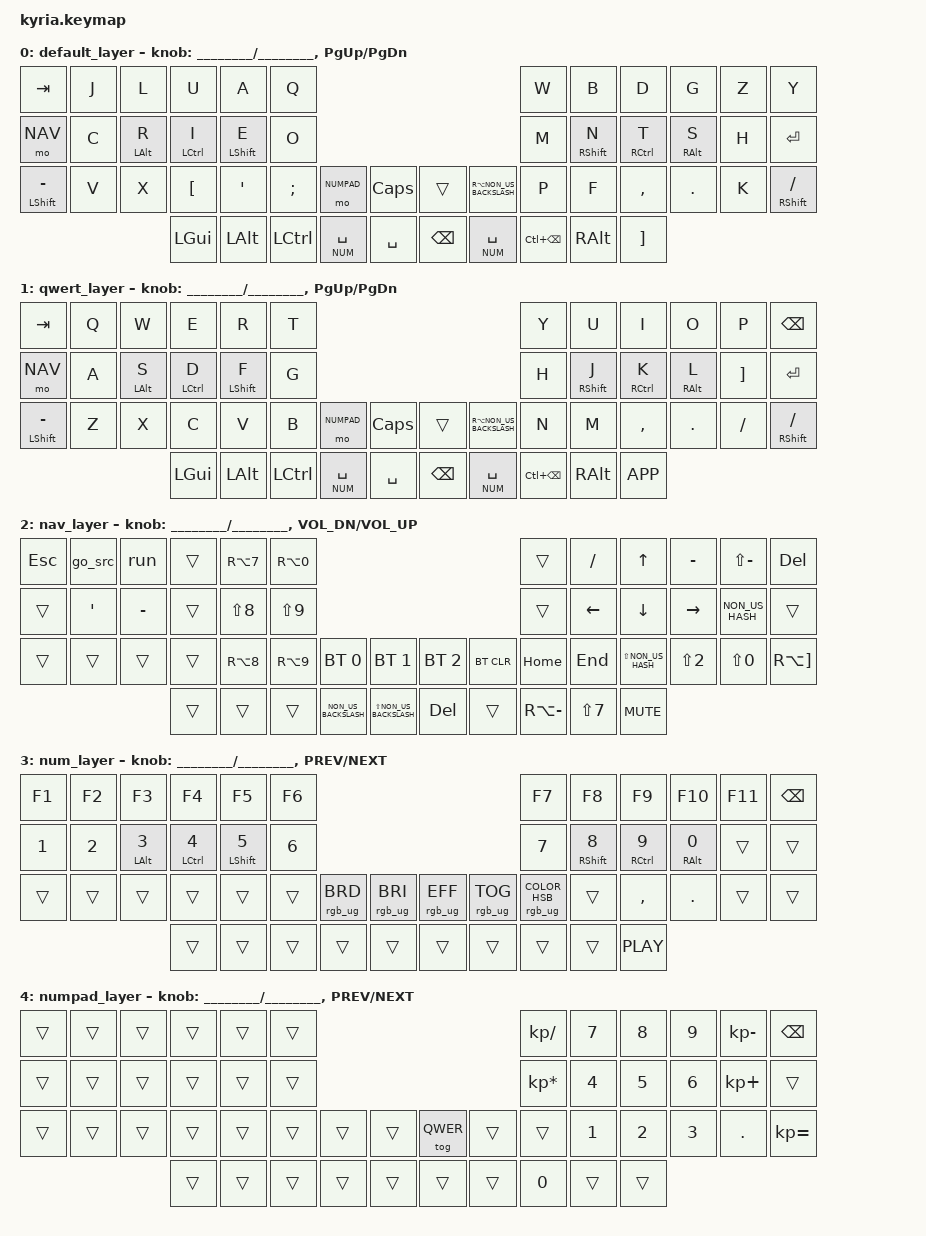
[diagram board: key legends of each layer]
/*
 * Copyright (c) 2020 The ZMK Contributors
 *
 * SPDX-License-Identifier: MIT
 */

#include <behaviors.dtsi>
#include <dt-bindings/zmk/keys.h>
#include <dt-bindings/zmk/bt.h>
#include <dt-bindings/zmk/rgb.h>

// Layers
#define DEFAULT 0
#define QWER    1
#define NAV     2
#define NUM     3
#define NUMPAD  4

// DE keys
#define DE_PLUS &kp RBKT
#define DE_TILD &kp RA(RBKT)
#define DE_LABK &kp NON_US_BACKSLASH // <
#define DE_RABK &kp LS(NON_US_BACKSLASH) // >
#define DE_PIPE &kp RA(NON_US_BACKSLASH)
#define DE_MINS &kp SLASH
#define DE_UE   &kp LBKT
#define DE_OE   &kp SEMI
#define DE_AE   &kp APOS
#define DE_SS   &kp MINUS
#define DE_QUES &kp LS(MINUS)
#define DE_HASH &kp NON_US_HASH
#define DE_QUOT &kp LS(NON_US_HASH)
#define DE_DQUO &kp LS(N2)
#define DE_EQUL &kp LS(N0)
#define DE_BSLS &kp RA(MINUS)
#define DE_SLSH &kp LS(N7)
#define DE_LCBR &kp RA(N7)
#define DE_RCBR &kp RA(N0)
#define DE_LPRN &kp LS(N8)
#define DE_RPRN &kp LS(N9)
#define DE_LBRC &kp RA(N8)
#define DE_RBRC &kp RA(N9)

// Special shortcuts
#define ________   &trans
#define TODO       &trans
#define DEL_W      &kp LC(BSPC)
#define SPACE_NUM  &lt NUM SPACE

#define BT_1       &bt BT_SEL 0
#define BT_2       &bt BT_SEL 1
#define BT_3       &bt BT_SEL 2
#define BT_CLEAR   &bt BT_CLR

#define UG_TOG     &rgb_ug RGB_TOG
#define UG_NEXT    &rgb_ug RGB_EFF
#define UG_BRGHT   &rgb_ug RGB_BRI
#define UG_DARK    &rgb_ug RGB_BRD
#define UG_LILA    &rgb_ug RGB_COLOR_HSB(282, 100, 83)

// home row mod left
#define ALT_S &hm LALT S
#define ALT_R &hm LALT R
#define ALT_3 &hm LALT N3
#define CTL_D &hm LCTRL D
#define CTL_I &hm LCTRL I
#define CTL_4 &hm LCTRL N4
#define SFT_F &hm LSHIFT F
#define SFT_E &hm LSHIFT E
#define SFT_5 &hm LSHIFT N5

// home row mod right
#define SFT_8 &hm RSHIFT N8
#define SFT_J &hm RSHIFT J
#define SFT_N &hm RSHIFT N
#define CTL_K &hm RCTRL K
#define CTL_T &hm RCTRL T
#define CTL_9 &hm RCTRL N9
#define ALT_L &hm RALT L
#define RALT_S &hm RALT S
#define ALT_0 &hm RALT N0

// special modifiers for missing keys
#define SFT_SS &hm LSHIFT MINUS
#define SFT_MIN &hm RSHIFT SLASH


#define CTRL_DEL &hm RCTRL BSPC

/ {

    macros {
            ZMK_MACRO(go_src,
                wait-ms = <30>;
                tap-ms = <40>;
                bindings
                    = <&macro_press   &kp LALT>
                    , <&macro_tap     &kp F1>
                    , <&macro_release &kp LALT>
                    , <&macro_wait_time 2000>
                    , <&macro_tap     &kp RET>
                    ;
            )

            ZMK_MACRO(run,
                wait-ms = <30>;
                tap-ms = <40>;
                bindings
                    = <&macro_press   &kp LALT>
                    , <&macro_press   &kp LSHFT>
                    , <&macro_tap     &kp F10>
                    , <&macro_release &kp LSHFT>
                    , <&macro_release &kp LALT>
                    ;
            )
	    
	    ZMK_MACRO(cad,
                wait-ms = <30>;
                tap-ms = <40>;
                bindings
                    = <&macro_press   &kp LCTL>
                    , <&macro_press   &kp LALT>
                    , <&macro_tap     &kp DEL>
                    , <&macro_release &kp LALT>
                    , <&macro_release &kp LCTL>
                    ;
            )
    };

    behaviors {
        hm: homerow_mods {
                    compatible = "zmk,behavior-hold-tap";
                    label = "HOMEROW_MODS";
                    #binding-cells = <2>;
                    tapping-term-ms = <180>;
                    quick-tap-ms = <0>;
                    flavor = "tap-preferred";
                    bindings = <&kp>, <&kp>;
                };
    };

	keymap {
		compatible = "zmk,keymap";

		default_layer {
        // --------------------------------------------------------------------------------------------------------
        // | ---  | --- | --- | --- | --- | --- |                             | --- | --- | --- | --- | --- | --- |
        // | ---  | --- | --- | --- | --- | --- |                             | --- | --- | --- | --- | --- | --- |
        // | ---  | --- | --- | --- | --- | --- | --- | --- |     | --- | --- | --- | --- | --- | --- | --- | --- |
        //                    | --- | --- | --- | --- | --- |     | --- | --- | --- | --- | --- |
                    bindings = <
            &kp TAB   &kp J &kp L &kp U    &kp A    &kp Q                                                &kp W    &kp B    &kp D     &kp G   &kp Z    &kp Y
            &mo NAV   &kp C ALT_R CTL_I    SFT_E    &kp O                                                &kp M    SFT_N    CTL_T     RALT_S  &kp H    &kp RET
            SFT_SS    &kp V &kp X DE_UE    DE_AE    DE_OE    &mo NUMPAD &kp CAPS      ________  DE_PIPE  &kp P    &kp F    &kp COMMA &kp DOT &kp K    SFT_MIN
                                  &kp LGUI &kp LALT &kp LCTL SPACE_NUM  &kp SPACE     &kp BSPC  SPACE_NUM DEL_W   &kp RALT DE_PLUS
                    >;

                    sensor-bindings = <&inc_dec_kp ________ ________ &inc_dec_kp PG_UP PG_DN>;
                };

		qwert_layer {
// --------------------------------------------------------------------------------------------------------
// | ---  | --- | --- | --- | --- | --- |                             | --- | --- | --- | --- | --- | --- |
// | ---  | --- | --- | --- | --- | --- |                             | --- | --- | --- | --- | --- | --- |
// | ---  | --- | --- | --- | --- | --- | --- | --- |     | --- | --- | --- | --- | --- | --- | --- | --- |
//                    | --- | --- | --- | --- | --- |     | --- | --- | --- | --- | --- |
			bindings = <
	&kp TAB   &kp Q &kp W &kp E    &kp R    &kp T                                                 &kp Y    &kp U    &kp I     &kp O   &kp P    &kp BSPC
	&mo NAV   &kp A ALT_S CTL_D    SFT_F    &kp G                                                 &kp H    SFT_J    CTL_K     ALT_L   DE_PLUS  &kp RET
	SFT_SS    &kp Z &kp X &kp C    &kp V    &kp B    &mo NUMPAD &kp CAPS      ________  DE_PIPE   &kp N    &kp M    &kp COMMA &kp DOT DE_MINS  SFT_MIN
	                      &kp LGUI &kp LALT &kp LCTL SPACE_NUM  &kp SPACE     &kp BSPC  SPACE_NUM DEL_W    &kp RALT &kp K_APP
			>;

			sensor-bindings = <&inc_dec_kp ________ ________ &inc_dec_kp PG_UP PG_DN>;
		};

		nav_layer {
// --------------------------------------------------------------------------------------------------------
// | ---  | --- | --- | --- | --- | --- |                             | --- | --- | --- | --- | --- | --- |
// | ---  | --- | --- | --- | --- | --- |                             | --- | --- | --- | --- | --- | --- |
// | ---  | --- | --- | --- | --- | --- | --- | --- |     | --- | --- | --- | --- | --- | --- | --- | --- |
//                    | --- | --- | --- | --- | --- |     | --- | --- | --- | --- | --- |
			bindings = <
	&kp ESC  &go_src  &run     ________ DE_LCBR  DE_RCBR                                         ________ DE_MINS  &kp UP   DE_SS     DE_QUES  &kp DEL
	________ DE_AE    DE_SS    ________ DE_LPRN  DE_RPRN                                         ________ &kp LEFT &kp DOWN &kp RIGHT DE_HASH  ________
	________ ________ ________ ________ DE_LBRC  DE_RBRC  BT_1     BT_2        BT_3     BT_CLEAR &kp HOME &kp END  DE_QUOT  DE_DQUO   DE_EQUL   DE_TILD
	                           ________ ________ ________ DE_LABK DE_RABK      &kp DEL  ________ DE_BSLS  DE_SLSH  &kp C_MUTE
			>;

			sensor-bindings = <&inc_dec_kp ________ ________ &inc_dec_kp C_VOL_DN C_VOL_UP>;
		};


		num_layer {
// --------------------------------------------------------------------------------------------------------
// | ---  | --- | --- | --- | --- | --- |                             | --- | --- | --- | --- | --- | --- |
// | ---  | --- | --- | --- | --- | --- |                             | --- | --- | --- | --- | --- | --- |
// | ---  | --- | --- | --- | --- | --- | --- | --- |     | --- | --- | --- | --- | --- | --- | --- | --- |
//                    | --- | --- | --- | --- | --- |     | --- | --- | --- | --- | --- |
			bindings = <
	&kp F1   &kp F2   &kp F3   &kp F4   &kp F5   &kp F6                                          &kp F7   &kp F8   &kp F9   &kp F10  &kp F11  &kp BSPC
	&kp N1   &kp N2   ALT_3    CTL_4    SFT_5    &kp N6                                          &kp N7   SFT_8    CTL_9    ALT_0    ________ ________
	________ ________ ________ ________ ________ ________ UG_DARK  UG_BRGHT    UG_NEXT  UG_TOG   UG_LILA  ________ &kp COMMA &kp DOT ________ ________
	                           ________ ________ ________ ________ ________    ________ ________ ________ ________ &kp C_PLAY
			>;

			sensor-bindings = <&inc_dec_kp ________ ________ &inc_dec_kp C_PREV C_NEXT>;
		};

        numpad_layer {
// --------------------------------------------------------------------------------------------------------
// | ---  | --- | --- | --- | --- | --- |                             | --- | --- | --- | --- | --- | --- |
// | ---  | --- | --- | --- | --- | --- |                             | --- | --- | --- | --- | --- | --- |
// | ---  | --- | --- | --- | --- | --- | --- | --- |     | --- | --- | --- | --- | --- | --- | --- | --- |
//                    | --- | --- | --- | --- | --- |     | --- | --- | --- | --- | --- |
            bindings = <
    ________ ________ ________ ________ ________ ________                                         &kp KP_DIVIDE   &kp N7   &kp N8   &kp N9   &kp KP_MINUS &kp BSPC
    ________ ________ ________ ________ ________ ________                                         &kp KP_MULTIPLY &kp N4   &kp N5   &kp N6   &kp KP_PLUS  ________
    ________ ________ ________ ________ ________ ________ ________ ________    &tog QWER ________ ________        &kp N1   &kp N2   &kp N3   &kp DOT      &kp KP_EQUAL
                               ________ ________ ________ ________ ________    ________  ________  &kp N0          ________ ________
            >;

            sensor-bindings = <&inc_dec_kp ________ ________ &inc_dec_kp C_PREV C_NEXT>;
        };

	};
};
